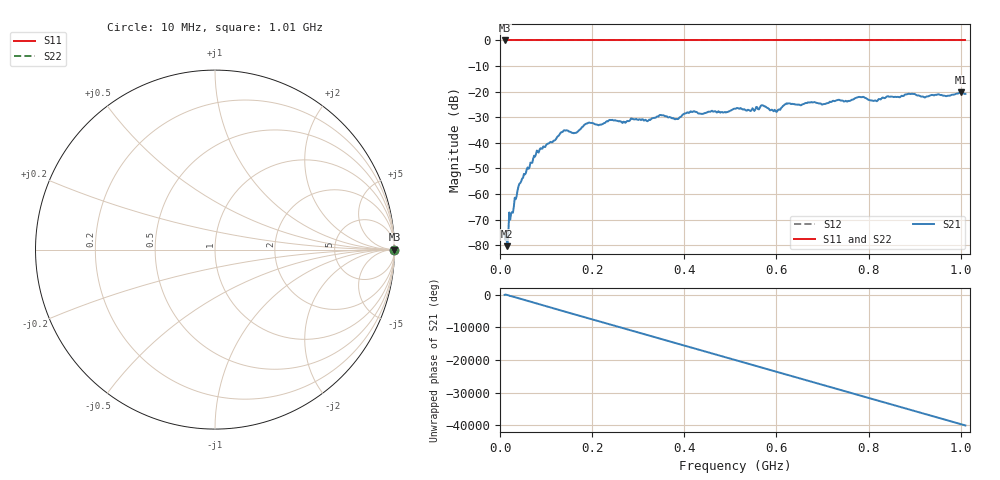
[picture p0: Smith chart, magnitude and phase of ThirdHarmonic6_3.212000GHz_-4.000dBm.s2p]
! 8/17/2025 9:46:54 AM
! C:\ANRITSUVNA\TEMP\TEMP.S2P
! CHANNEL.1
! TR.MEASUREMENT
! RAW.DATA
! RF.CORRECTION.OFF
! AVERAGING.OFF
! IF.BANDWIDTH: 5KHZ
! SWEEPTYPE:  FREQ.SWEEP(Linear)
! Reference Plane Port Info
! PORT:  PORT1  PORT2
! DISTANCE:  0  m  0  m
! TIME:  0  s  0  s
! PHASE.OFFSET:  0  deg.  0  deg.
! LOSS:  0  dB  0  dB
! REF.LOSS:  0  dB  0  dB
! REF.FREQ:  0  Hz  0  Hz
! Power Info
! POWER:  -20  dBm  -20  dBm
! EFF.POWER:  -20  dBm  -20  dBm
! SOURCE.ATTEN:  0  dB  0  dB
! TEST.ATTEN:  0  dB  0  dB
# GHZ S RI R 50.0
! FREQ.GHZ  S11RE  S11IM  S21RE  S21IM  S12RE  S12IM  S22RE  S22IM
!; PortSelection: Port_12
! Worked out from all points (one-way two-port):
!   501 points, 10 MHz to 1.01 GHz, reference 50 ohm
!   highest |S21| = -20.19 dB at 1 GHz (marker M1); lowest = -80.3 dB at 16 MHz (marker M2)
!   lowest |S11| = 0.0 dB at 10 MHz (marker M3)
!   |S11| at or under -10 dB: nowhere
!   |S22| runs from 0.0 to 0.0 dB; largest |S21 - S12| = 1.1
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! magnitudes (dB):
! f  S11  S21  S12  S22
! 10 MHz  0.0  -76.2  0.0  0.0
! 14 MHz  0.0  -75.2  0.0  0.0
! 16 MHz  0.0  -80.3  0.0  0.0
! 24 MHz  0.0  -67.7  0.0  0.0
! 42 MHz  0.0  -56.0  0.0  0.0
! 78 MHz  0.0  -44.5  0.0  0.0
! 136 MHz  0.0  -35.7  0.0  0.0
! 164 MHz  0.0  -36.1  0.0  0.0
! 178 MHz  0.0  -33.8  0.0  0.0
! 192 MHz  0.0  -32.1  0.0  0.0
! 322 MHz  0.0  -31.3  0.0  0.0
! 344 MHz  0.0  -29.7  0.0  0.0
! 384 MHz  0.0  -30.7  0.0  0.0
! 416 MHz  0.0  -27.9  0.0  0.0
! 510 MHz  0.0  -26.6  0.0  0.0
! 570 MHz  0.0  -25.4  0.0  0.0
! 598 MHz  0.0  -27.5  0.0  0.0
! 624 MHz  0.0  -24.7  0.0  0.0
! 678 MHz  0.0  -24.2  0.0  0.0
! 844 MHz  0.0  -22.0  0.0  0.0
! 1 GHz  0.0  -20.2  0.0  0.0
! 1.01 GHz  0.0  -20.8  0.0  0.0
